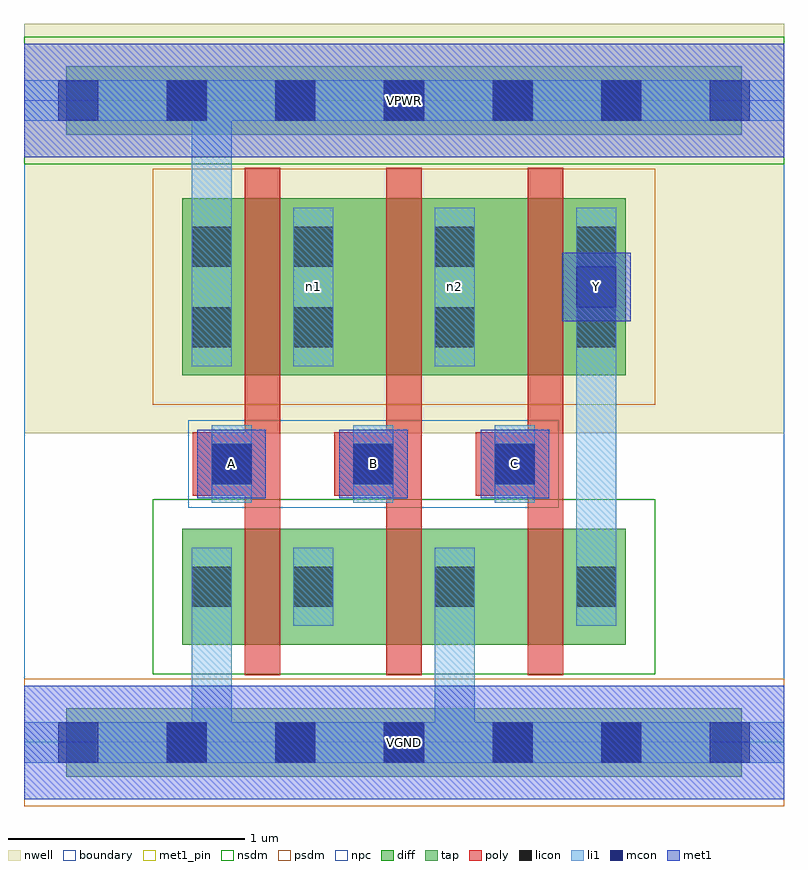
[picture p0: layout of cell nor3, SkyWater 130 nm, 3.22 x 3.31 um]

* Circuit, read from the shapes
.subckt nor3 A B C VGND VPWR Y n1 n2
XM1 n3 A VGND VGND sky130_fd_pr__nfet_01v8 w=0.49 l=0.15
XM2 VGND B n3 VGND sky130_fd_pr__nfet_01v8 w=0.49 l=0.15
XM3 Y C VGND VGND sky130_fd_pr__nfet_01v8 w=0.49 l=0.15
XM4 n1 A VPWR VPWR sky130_fd_pr__pfet_01v8 w=0.75 l=0.15
XM5 n2 B n1 VPWR sky130_fd_pr__pfet_01v8 w=0.75 l=0.15
XM6 Y C n2 VPWR sky130_fd_pr__pfet_01v8 w=0.75 l=0.15
.ends

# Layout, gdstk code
import gdstk
lib = gdstk.Library(unit=1e-6, precision=1e-09)
def R(c, l, rs):  # rectangles x0, y0, x1, y1
    for r in rs: c.add(gdstk.rectangle(r[:2], r[2:], *l))
def A(c, l, x, y, w, h, nx, ny, dx, dy):  # array of equal rectangles
    R(c, l, [(x+i*dx, y+j*dy, x+i*dx+w, y+j*dy+h) for i in range(nx) for j in range(ny)])
nwell = (64, 20)
diff = (65, 20)
tap = (65, 44)
poly = (66, 20)
licon = (66, 44)
li1 = (67, 20)
mcon = (67, 44)
met1_pin = (68, 16)
met1 = (68, 20)
nsdm = (93, 44)
psdm = (94, 20)
npc = (95, 20)
boundary = (235, 4)

nor3 = lib.new_cell('nor3')
R(nor3, nwell, [(0,1.31,3.22,3.045)])
R(nor3, diff, [(0.67,0.415,2.55,0.905), (0.67,1.555,2.55,2.305)])
R(nor3, tap, [(0.18,-0.145,3.04,0.145), (0.18,2.575,3.04,2.865)])
A(nor3, poly, 0.935, 0.285, 0.15, 2.15, 3, 1, 0.6, 0)
A(nor3, poly, 0.715, 1.045, 0.33, 0.27, 3, 1, 0.6, 0)
A(nor3, licon, 0.605, -0.085, 0.17, 0.17, 5, 2, 0.46, 2.72)
A(nor3, licon, 1.14, 0.575, 0.17, 0.17, 3, 2, 0.6, 1.1)
A(nor3, licon, 0.795, 1.095, 0.17, 0.17, 3, 1, 0.6, 0)
A(nor3, licon, 1.14, 2.015, 0.17, 0.17, 3, 1, 0.6, 0)
R(nor3, licon, [(0.71,0.575,0.88,0.745), (0.71,1.675,0.88,1.845), (0.71,2.015,0.88,2.185)])
A(nor3, li1, 1.14, 0.495, 0.17, 0.33, 3, 1, 0.6, 0)
A(nor3, li1, 0.795, 1.015, 0.17, 0.33, 3, 1, 0.6, 0)
A(nor3, li1, 1.14, 1.595, 0.17, 0.67, 3, 1, 0.6, 0)
R(nor3, li1, [(0,-0.085,3.22,0.085), (0.71,-0.085,0.88,0.825), (1.74,-0.085,1.91,0.825), (0.71,0.495,0.88,0.825), (2.34,0.495,2.51,2.265), (0.71,1.595,0.88,2.265), (0.71,1.595,0.88,2.805), (0,2.635,3.22,2.805)])
A(nor3, mcon, 0.145, -0.085, 0.17, 0.17, 7, 2, 0.46, 2.72)
A(nor3, mcon, 0.795, 1.095, 0.17, 0.17, 3, 1, 0.6, 0)
R(nor3, mcon, [(2.34,1.845,2.51,2.015)])
A(nor3, met1_pin, 0.735, 1.035, 0.29, 0.29, 3, 1, 0.6, 0)
R(nor3, met1_pin, [(0,-0.24,3.22,0.24), (2.28,1.785,2.57,2.075), (0,2.48,3.22,2.96)])
A(nor3, met1, 0.735, 1.035, 0.29, 0.29, 3, 1, 0.6, 0)
R(nor3, met1, [(0,-0.24,3.22,0.24), (2.28,1.785,2.57,2.075), (0,2.48,3.22,2.96)])
R(nor3, nsdm, [(0.545,0.29,2.675,1.03), (0,2.45,3.22,2.99)])
R(nor3, psdm, [(0,-0.27,3.22,0.27), (0.545,1.43,2.675,2.43)])
R(nor3, npc, [(0.695,0.995,2.265,1.365)])
R(nor3, boundary, [(0,0,3.22,2.72)])
nor3.add(gdstk.Label('n1', (1.225,1.93), layer=67, texttype=5))
nor3.add(gdstk.Label('n2', (1.825,1.93), layer=67, texttype=5))
nor3.add(gdstk.Label('A', (0.88,1.18), layer=68, texttype=5))
nor3.add(gdstk.Label('B', (1.48,1.18), layer=68, texttype=5))
nor3.add(gdstk.Label('C', (2.08,1.18), layer=68, texttype=5))
nor3.add(gdstk.Label('Y', (2.425,1.93), layer=68, texttype=5))
nor3.add(gdstk.Label('VPWR', (1.61,2.72), layer=68, texttype=5))
nor3.add(gdstk.Label('VGND', (1.61,0), layer=68, texttype=5))
nor3.add(gdstk.Label('A', (0.88,1.18), layer=68, texttype=16))
nor3.add(gdstk.Label('B', (1.48,1.18), layer=68, texttype=16))
nor3.add(gdstk.Label('C', (2.08,1.18), layer=68, texttype=16))
nor3.add(gdstk.Label('Y', (2.425,1.93), layer=68, texttype=16))
nor3.add(gdstk.Label('VPWR', (1.61,2.72), layer=68, texttype=16))
nor3.add(gdstk.Label('VGND', (1.61,0), layer=68, texttype=16))

lib.write_gds('nor3.gds')
